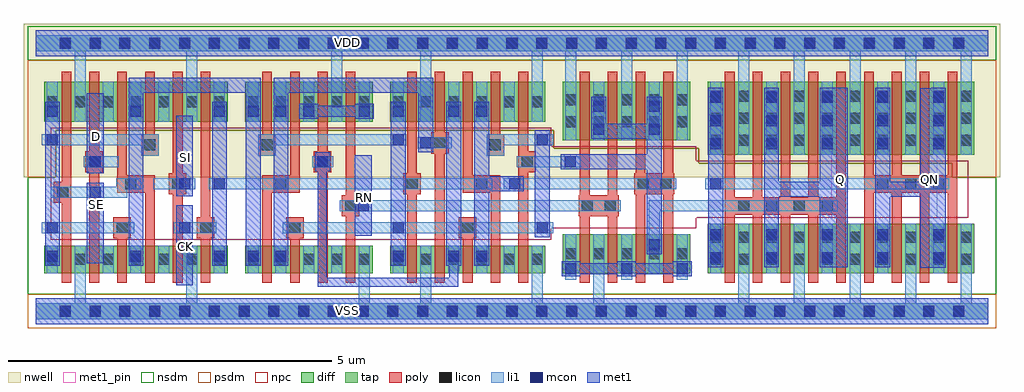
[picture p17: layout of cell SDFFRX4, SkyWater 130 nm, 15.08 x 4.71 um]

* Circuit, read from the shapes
.subckt SDFFRX4 CK D Q QN RN SE SI VDD VSS
XM1 VSS SE n1 VSS sky130_fd_pr__nfet_01v8 w=0.425 l=0.15
XM2 n2 D VSS VSS sky130_fd_pr__nfet_01v8 w=0.425 l=0.15
XM3 n3 n1 n2 VSS sky130_fd_pr__nfet_01v8 w=0.425 l=0.15
XM4 n4 SE n3 VSS sky130_fd_pr__nfet_01v8 w=0.425 l=0.15
XM5 VSS SI n4 VSS sky130_fd_pr__nfet_01v8 w=0.425 l=0.15
XM6 n5 CK VSS VSS sky130_fd_pr__nfet_01v8 w=0.425 l=0.15
XM7 n6 n5 n3 VSS sky130_fd_pr__nfet_01v8 w=0.425 l=0.15
XM8 n7 n8 n6 VSS sky130_fd_pr__nfet_01v8 w=0.425 l=0.15
XM9 n9 n10 n7 VSS sky130_fd_pr__nfet_01v8 w=0.425 l=0.15
XM10 VSS RN n9 VSS sky130_fd_pr__nfet_01v8 w=0.425 l=0.15
XM11 VSS n5 n8 VSS sky130_fd_pr__nfet_01v8 w=0.425 l=0.15
XM12 n10 n6 VSS VSS sky130_fd_pr__nfet_01v8 w=0.425 l=0.15
XM13 n11 n8 n10 VSS sky130_fd_pr__nfet_01v8 w=0.425 l=0.15
XM14 n12 n5 n11 VSS sky130_fd_pr__nfet_01v8 w=0.425 l=0.15
XM15 VSS n13 n12 VSS sky130_fd_pr__nfet_01v8 w=0.425 l=0.15
XM16 VSS RN n14 VSS sky130_fd_pr__nfet_01v8 w=0.6 l=0.15 m=2
XM17 n13 n11 n14 VSS sky130_fd_pr__nfet_01v8 w=0.6 l=0.15 m=2
XM18 VSS n13 n15 VSS sky130_fd_pr__nfet_01v8 w=0.76 l=0.15
XM19 Q n13 VSS VSS sky130_fd_pr__nfet_01v8 w=0.76 l=0.15 m=4
XM20 QN n15 VSS VSS sky130_fd_pr__nfet_01v8 w=0.76 l=0.15 m=4
XM21 VDD SE n1 VDD sky130_fd_pr__pfet_01v8 w=0.625 l=0.15
XM22 n16 D VDD VDD sky130_fd_pr__pfet_01v8 w=0.625 l=0.15
XM23 n3 SE n16 VDD sky130_fd_pr__pfet_01v8 w=0.625 l=0.15
XM24 n17 n1 n3 VDD sky130_fd_pr__pfet_01v8 w=0.625 l=0.15
XM25 VDD SI n17 VDD sky130_fd_pr__pfet_01v8 w=0.625 l=0.15
XM26 n5 CK VDD VDD sky130_fd_pr__pfet_01v8 w=0.625 l=0.15
XM27 n6 n8 n3 VDD sky130_fd_pr__pfet_01v8 w=0.625 l=0.15
XM28 n18 n5 n6 VDD sky130_fd_pr__pfet_01v8 w=0.625 l=0.15
XM29 VDD n10 n18 VDD sky130_fd_pr__pfet_01v8 w=0.625 l=0.15
XM30 n18 RN VDD VDD sky130_fd_pr__pfet_01v8 w=0.625 l=0.15
XM31 VDD n5 n8 VDD sky130_fd_pr__pfet_01v8 w=0.625 l=0.15
XM32 n10 n6 VDD VDD sky130_fd_pr__pfet_01v8 w=0.625 l=0.15
XM33 n11 n5 n10 VDD sky130_fd_pr__pfet_01v8 w=0.625 l=0.15
XM34 n19 n8 n11 VDD sky130_fd_pr__pfet_01v8 w=0.625 l=0.15
XM35 VDD n13 n19 VDD sky130_fd_pr__pfet_01v8 w=0.625 l=0.15
XM36 n13 RN VDD VDD sky130_fd_pr__pfet_01v8 w=0.905 l=0.15 m=2
XM37 n13 n11 VDD VDD sky130_fd_pr__pfet_01v8 w=0.905 l=0.15 m=2
XM38 VDD n13 n15 VDD sky130_fd_pr__pfet_01v8 w=1.13 l=0.15
XM39 Q n13 VDD VDD sky130_fd_pr__pfet_01v8 w=1.13 l=0.15 m=4
XM40 QN n15 VDD VDD sky130_fd_pr__pfet_01v8 w=1.13 l=0.15 m=4
.ends

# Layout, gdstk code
from math import pi, radians
import gdstk
lib = gdstk.Library(unit=1e-6, precision=1e-09)
def R(c, l, rs):  # rectangles x0, y0, x1, y1
    for r in rs: c.add(gdstk.rectangle(r[:2], r[2:], *l))
def A(c, l, x, y, w, h, nx, ny, dx, dy):  # array of equal rectangles
    R(c, l, [(x+i*dx, y+j*dy, x+i*dx+w, y+j*dy+h) for i in range(nx) for j in range(ny)])
def P(c, l, *ps):  # polygons
    for p in ps: c.add(gdstk.Polygon(p, *l))
nwell = (64, 20)
diff = (65, 20)
tap = (65, 44)
poly = (66, 20)
licon = (66, 44)
li1 = (67, 20)
mcon = (67, 44)
met1_pin = (68, 16)
met1 = (68, 20)
nsdm = (93, 44)
psdm = (94, 20)
npc = (95, 20)

pyl1con_c_cdns_758728262 = lib.new_cell('PYL1CON_C_CDNS_758728262102')
R(pyl1con_c_cdns_758728262, poly, [(-0.135,-0.165,0.135,0.165)])
R(pyl1con_c_cdns_758728262, licon, [(-0.085,-0.085,0.085,0.085)])
R(pyl1con_c_cdns_758728262, npc, [(-0.185,-0.185,0.185,0.185)])

l1m1_c_cdns_758728262101 = lib.new_cell('L1M1_C_CDNS_7587282621012')
R(l1m1_c_cdns_758728262101, li1, [(-0.085,-0.525,0.085,0.525)])
A(l1m1_c_cdns_758728262101, mcon, -0.085, -0.445, 0.17, 0.17, 1, 3, 0, 0.36)
R(l1m1_c_cdns_758728262101, met1, [(-0.115,-0.505,0.115,0.505)])

c_l1m1_c_cdns_758728262101 = lib.new_cell('L1M1_C_CDNS_758728262101')
R(c_l1m1_c_cdns_758728262101, li1, [(-0.085,-0.165,0.085,0.165)])
R(c_l1m1_c_cdns_758728262101, mcon, [(-0.085,-0.085,0.085,0.085)])
R(c_l1m1_c_cdns_758728262101, met1, [(-0.115,-0.145,0.115,0.145)])

l1m1_c_cdns_758728262104 = lib.new_cell('L1M1_C_CDNS_758728262104')
R(l1m1_c_cdns_758728262104, li1, [(-0.085,-0.345,0.085,0.345)])
R(l1m1_c_cdns_758728262104, mcon, [(-0.085,-0.265,0.085,-0.095), (-0.085,0.095,0.085,0.265)])
R(l1m1_c_cdns_758728262104, met1, [(-0.115,-0.325,0.115,0.325)])

l1m1_c_cdns_758728262100 = lib.new_cell('L1M1_C_CDNS_758728262100')
R(l1m1_c_cdns_758728262100, li1, [(-0.165,-0.085,0.165,0.085)])
R(l1m1_c_cdns_758728262100, mcon, [(-0.085,-0.085,0.085,0.085)])
R(l1m1_c_cdns_758728262100, met1, [(-0.115,-0.145,0.115,0.145)])

l1m1_c_cdns_758728262103 = lib.new_cell('L1M1_C_CDNS_758728262103')
R(l1m1_c_cdns_758728262103, li1, [(-0.085,-0.165,0.085,0.165)])
R(l1m1_c_cdns_758728262103, mcon, [(-0.085,-0.085,0.085,0.085)])
R(l1m1_c_cdns_758728262103, met1, [(-0.145,-0.115,0.145,0.115)])

licondiff_c_cdns_7587282 = lib.new_cell('LICONDIFF_C_CDNS_7587282621010')
R(licondiff_c_cdns_7587282, diff, [(-0.125,-0.145,0.125,0.145)])
R(licondiff_c_cdns_7587282, licon, [(-0.085,-0.085,0.085,0.085), (-0.085,-0.085,0.085,0.085)])

l1m1_c_cdns_758728262105 = lib.new_cell('L1M1_C_CDNS_758728262105')
R(l1m1_c_cdns_758728262105, li1, [(-0.165,-0.085,0.165,0.085)])
R(l1m1_c_cdns_758728262105, mcon, [(-0.085,-0.085,0.085,0.085)])
R(l1m1_c_cdns_758728262105, met1, [(-0.145,-0.115,0.145,0.115)])

c_pyl1con_c_cdns_758728262 = lib.new_cell('PYL1CON_C_CDNS_7587282621017')
R(c_pyl1con_c_cdns_758728262, poly, [(-0.135,-0.29,0.135,0.29)])
R(c_pyl1con_c_cdns_758728262, licon, [(-0.085,-0.085,0.085,0.085)])
R(c_pyl1con_c_cdns_758728262, npc, [(-0.185,-0.185,0.185,0.185)])

c_l1m1_c_cdns_758728262101_ = lib.new_cell('L1M1_C_CDNS_7587282621019')
R(c_l1m1_c_cdns_758728262101_, li1, [(-0.125,-0.085,0.125,0.085)])
R(c_l1m1_c_cdns_758728262101_, mcon, [(-0.085,-0.085,0.085,0.085)])
R(c_l1m1_c_cdns_758728262101_, met1, [(-0.115,-0.145,0.115,0.145)])

c_pyl1con_c_cdns_758728262_ = lib.new_cell('PYL1CON_C_CDNS_7587282621020')
R(c_pyl1con_c_cdns_758728262_, poly, [(-0.135,-0.37,0.135,0.21)])
R(c_pyl1con_c_cdns_758728262_, licon, [(-0.085,-0.085,0.085,0.085)])
R(c_pyl1con_c_cdns_758728262_, npc, [(-0.185,-0.185,0.185,0.185)])

sdffrx4 = lib.new_cell('SDFFRX4')
R(sdffrx4, nwell, [(-0.18,2.07,14.9,4.445)])
R(sdffrx4, diff, [(0.135,0.59,2.965,1.015), (3.235,0.59,5.205,1.015), (5.475,0.59,7.875,1.015), (8.145,0.59,10.115,1.19), (10.385,0.59,14.505,1.35), (10.385,2.42,14.505,3.55), (8.145,2.645,10.115,3.55), (0.135,2.925,2.965,3.55), (3.235,2.925,5.205,3.55), (5.475,2.925,7.875,3.55)])
A(sdffrx4, poly, 1.26, 0.44, 0.15, 0.725, 3, 1, 2.67, 0)
A(sdffrx4, poly, 10.65, 0.44, 0.15, 3.26, 9, 1, 0.43, 0)
R(sdffrx4, poly, [(0.4,0.44,0.55,3.7), (0.83,0.44,0.98,3.7), (2.12,0.44,2.27,3.7), (2.55,0.44,2.7,3.7), (4.36,0.44,4.51,3.7), (4.79,0.44,4.94,3.7), (5.74,0.44,5.89,3.7), (6.17,0.44,6.32,3.7), (7.46,0.44,7.61,3.7), (1.69,2.735,1.84,3.7), (3.5,2.735,3.65,3.7), (7.03,2.735,7.18,3.7)])
P(sdffrx4, poly, [(1.84,2.045),(1.41,2.045),(1.41,3.7),(1.26,3.7),(1.26,1.895),(1.69,1.895),(1.69,0.44),(1.84,0.44)],
  [(4.08,3.7),(3.93,3.7),(3.93,2.045),(3.5,2.045),(3.5,0.44),(3.65,0.44),(3.65,1.895),(4.08,1.895)],
  [(7.18,2.045),(6.75,2.045),(6.75,3.7),(6.6,3.7),(6.6,1.895),(7.03,1.895),(7.03,0.44),(7.18,0.44)],
  [(9.01,1.795),(8.99,1.795),(8.99,3.7),(8.84,3.7),(8.84,1.795),(8.56,1.795),(8.56,3.7),(8.41,3.7),(8.41,1.795),(8.39,1.795),(8.39,1.465),(8.41,1.465),(8.41,0.44),(8.56,0.44),(8.56,1.465),(8.84,1.465),(8.84,0.44),(8.99,0.44),(8.99,1.465),(9.01,1.465)],
  [(9.87,2.135),(9.85,2.135),(9.85,3.7),(9.7,3.7),(9.7,2.135),(9.42,2.135),(9.42,3.7),(9.27,3.7),(9.27,2.135),(9.25,2.135),(9.25,1.805),(9.27,1.805),(9.27,0.44),(9.42,0.44),(9.42,1.805),(9.7,1.805),(9.7,0.44),(9.85,0.44),(9.85,1.805),(9.87,1.805)])
A(sdffrx4, licon, 0.375, -0.085, 0.17, 0.17, 31, 2, 0.46, 4.14)
A(sdffrx4, licon, 0.605, 0.715, 0.17, 0.17, 3, 2, 0.86, 2.435)
A(sdffrx4, licon, 5.515, 0.715, 0.17, 0.17, 4, 2, 0.43, 2.435)
A(sdffrx4, licon, 10.425, 0.715, 0.17, 0.17, 10, 2, 0.43, 0.34)
A(sdffrx4, licon, 8.185, 0.805, 0.17, 0.17, 5, 2, 0.43, 2.035)
A(sdffrx4, licon, 10.425, 2.56, 0.17, 0.17, 10, 3, 0.43, 0.34)
A(sdffrx4, licon, 3.275, 3.15, 0.17, 0.17, 5, 1, 0.43, 0)
A(sdffrx4, licon, 8.185, 3.18, 0.17, 0.17, 5, 1, 0.43, 0)
R(sdffrx4, licon, [(0.175,0.715,0.345,0.885), (2.755,0.715,2.925,0.885), (3.275,0.715,3.445,0.885), (3.705,0.715,3.875,0.885), (4.995,0.715,5.165,0.885), (7.665,0.715,7.835,0.885), (0.175,3.15,0.345,3.32), (2.755,3.15,2.925,3.32), (7.665,3.15,7.835,3.32)])
A(sdffrx4, li1, 0.175, 0.59, 0.17, 0.425, 3, 1, 1.29, 0)
A(sdffrx4, li1, 8.185, 0.59, 0.17, 0.6, 3, 1, 0.86, 0)
A(sdffrx4, li1, 10.425, 0.59, 0.17, 0.76, 5, 1, 0.86, 0)
A(sdffrx4, li1, 10.425, 2.42, 0.17, 1.13, 5, 1, 0.86, 0)
A(sdffrx4, li1, 0.175, 2.925, 0.17, 0.625, 3, 1, 1.29, 0)
A(sdffrx4, li1, 3.275, 2.925, 0.17, 0.625, 3, 1, 0.43, 0)
R(sdffrx4, li1, [(3.275,0.59,3.445,1.015), (3.705,0.59,3.875,1.015), (5.515,0.59,5.685,1.015), (6.375,0.59,6.545,1.015), (6.805,0.59,6.975,1.015), (8.615,2.645,8.785,3.55), (9.475,2.645,9.645,3.55), (4.995,2.925,5.165,3.55), (5.515,2.925,5.685,3.55), (6.375,2.925,6.545,3.55), (6.805,2.925,6.975,3.55)])
P(sdffrx4, li1, [(1.9,2.735),(0.095,2.735),(0.095,2.565),(1.63,2.565),(1.63,2.405),(1.9,2.405)],
  [(5.725,2.735),(3.44,2.735),(3.44,2.405),(3.71,2.405),(3.71,2.565),(5.725,2.565)],
  [(7.995,2.735),(6.97,2.735),(6.97,2.405),(7.24,2.405),(7.24,2.565),(7.995,2.565)],
  [(12.395,1.715),(9.475,1.715),(9.475,0.59),(9.645,0.59),(9.645,1.545),(12.395,1.545)],
  [(14.72,4.265),(0,4.265),(0,4.015),(0.605,4.015),(0.605,2.925),(0.775,2.925),(0.775,4.015),(2.325,4.015),(2.325,2.925),(2.495,2.925),(2.495,4.015),(4.565,4.015),(4.565,2.925),(4.735,2.925),(4.735,4.015),(5.945,4.015),(5.945,2.925),(6.115,2.925),(6.115,4.015),(7.665,4.015),(7.665,2.925),(7.835,2.925),(7.835,4.015),(8.185,4.015),(8.185,2.645),(8.355,2.645),(8.355,4.015),(9.045,4.015),(9.045,2.645),(9.215,2.645),(9.215,4.015),(9.905,4.015),(9.905,2.645),(10.075,2.645),(10.075,4.015),(10.855,4.015),(10.855,2.42),(11.025,2.42),(11.025,4.015),(11.715,4.015),(11.715,2.42),(11.885,2.42),(11.885,4.015),(12.575,4.015),(12.575,2.42),(12.745,2.42),(12.745,4.015),(13.435,4.015),(13.435,2.42),(13.605,2.42),(13.605,4.015),(14.295,4.015),(14.295,2.42),(14.465,2.42),(14.465,4.015),(14.72,4.015)],
  [(14.72,0.125),(14.465,0.125),(14.465,1.35),(14.295,1.35),(14.295,0.125),(13.605,0.125),(13.605,1.35),(13.435,1.35),(13.435,0.125),(12.745,0.125),(12.745,1.35),(12.575,1.35),(12.575,0.125),(11.885,0.125),(11.885,1.35),(11.715,1.35),(11.715,0.125),(11.025,0.125),(11.025,1.35),(10.855,1.35),(10.855,0.125),(8.785,0.125),(8.785,1.19),(8.615,1.19),(8.615,0.125),(7.835,0.125),(7.835,1.015),(7.665,1.015),(7.665,0.125),(6.115,0.125),(6.115,1.015),(5.945,1.015),(5.945,0.125),(5.165,0.125),(5.165,1.015),(4.995,1.015),(4.995,0.125),(2.495,0.125),(2.495,1.015),(2.325,1.015),(2.325,0.125),(0.775,0.125),(0.775,1.015),(0.605,1.015),(0.605,0.125),(0,0.125),(0,-0.125),(14.72,-0.125)])
A(sdffrx4, mcon, 0.375, -0.085, 0.17, 0.17, 31, 2, 0.46, 4.14)
R(sdffrx4, met1_pin, [(2.17,0.4,2.43,1.64), (0.79,0.745,1.05,1.985), (4.93,1.17,5.19,2.41), (13.67,1.44,13.93,2.68), (12.29,1.445,12.55,2.685), (2.17,1.78,2.43,3.02), (0.79,2.13,1.05,3.37)])
P(sdffrx4, met1, [(6.575,3.235),(6.345,3.235),(6.345,0.705),(6.39,0.705),(6.39,0.52),(4.5,0.52),(4.5,2.31),(4.36,2.31),(4.36,0.38),(6.53,0.38),(6.53,0.705),(6.575,0.705)],
  [(7.545,2.085),(7.005,2.085),(7.005,3.235),(6.775,3.235),(6.775,0.705),(7.005,0.705),(7.005,1.855),(7.545,1.855)],
  [(9.675,3.315),(9.445,3.315),(9.445,2.895),(8.585,2.895),(8.585,2.665),(9.445,2.665),(9.445,2.425),(8.115,2.425),(8.115,2.195),(9.445,2.195),(9.445,0.88),(9.675,0.88)],
  [(12.55,3.45),(12.115,3.45),(12.115,2),(11.485,2),(11.485,3.45),(11.255,3.45),(11.255,0.68),(11.485,0.68),(11.485,1.77),(12.115,1.77),(12.115,0.685),(12.29,0.685),(12.29,0.68),(12.55,0.68)],
  [(14.065,3.445),(13.67,3.445),(13.67,2),(13.205,2),(13.205,3.45),(12.975,3.45),(12.975,0.68),(13.205,0.68),(13.205,1.77),(13.67,1.77),(13.67,0.675),(14.065,0.675)])
R(sdffrx4, nsdm, [(-0.125,3.875,14.845,4.405)])
P(sdffrx4, nsdm, [(14.845,2.07),(14.165,2.07),(14.165,2.29),(10.245,2.29),(10.245,2.515),(8.005,2.515),(8.005,2.795),(0.31,2.795),(0.31,2.07),(-0.125,2.07),(-0.125,0.265),(14.845,0.265)])
R(sdffrx4, psdm, [(-0.125,-0.265,14.845,0.265)])
P(sdffrx4, psdm, [(14.845,3.875),(-0.125,3.875),(-0.125,2.07),(0.31,2.07),(0.31,2.795),(8.005,2.795),(8.005,2.515),(10.245,2.515),(10.245,2.29),(14.165,2.29),(14.165,2.07),(14.845,2.07)])
P(sdffrx4, npc, [(14.41,2.325),(10.205,2.325),(10.205,2.55),(7.965,2.55),(7.965,2.835),(0.23,2.835),(0.23,1.105),(7.965,1.105),(7.965,1.285),(10.205,1.285),(10.205,1.445),(14.41,1.445)])
sdffrx4.add(gdstk.FlexPath([(5.905,2.6),(6.43,2.6)], 0.17, ends="flush", simple_path=True, layer=67, datatype=20))  # li1
sdffrx4.add(gdstk.FlexPath([(0.095,1.29),(1.52,1.29)], 0.17, ends="flush", simple_path=True, layer=67, datatype=20))  # li1
sdffrx4.add(gdstk.FlexPath([(7.32,2.925),(7.32,3.55)], 0.17, ends="flush", simple_path=True, layer=67, datatype=20))  # li1
sdffrx4.add(gdstk.FlexPath([(7.32,0.59),(7.32,1.015)], 0.17, ends="flush", simple_path=True, layer=67, datatype=20))  # li1
sdffrx4.add(gdstk.FlexPath([(4.65,0.59),(4.65,1.015)], 0.17, ends="flush", simple_path=True, layer=67, datatype=20))  # li1
sdffrx4.add(gdstk.FlexPath([(4.22,0.59),(4.22,1.015)], 0.17, ends="flush", simple_path=True, layer=67, datatype=20))  # li1
sdffrx4.add(gdstk.FlexPath([(2.36,1.97),(1.815,1.97)], 0.17, ends="flush", simple_path=True, layer=67, datatype=20))  # li1
sdffrx4.add(gdstk.FlexPath([(2.79,1.29),(2.245,1.29)], 0.17, ends="flush", simple_path=True, layer=67, datatype=20))  # li1
sdffrx4.add(gdstk.FlexPath([(2.675,1.97),(7.055,1.97)], 0.17, ends="flush", simple_path=True, layer=67, datatype=20))  # li1
sdffrx4.add(gdstk.FlexPath([(0.23,1.84),(1.33,1.84),(1.33,1.97),(1.635,1.97)], 0.17, ends="flush", simple_path=True, layer=67, datatype=20))  # li1
sdffrx4.add(gdstk.FlexPath([(1.12,2.925),(1.12,3.55)], 0.17, ends="flush", simple_path=True, layer=67, datatype=20))  # li1
sdffrx4.add(gdstk.FlexPath([(1.98,2.925),(1.98,3.55)], 0.17, ends="flush", simple_path=True, layer=67, datatype=20))  # li1
sdffrx4.add(gdstk.FlexPath([(7.235,1.97),(9.9,1.97)], 0.17, ends="flush", simple_path=True, layer=67, datatype=20))  # li1
sdffrx4.add(gdstk.FlexPath([(4.7,1.63),(9.04,1.63)], 0.17, ends="flush", simple_path=True, layer=67, datatype=20))  # li1
sdffrx4.add(gdstk.FlexPath([(7.43,2.31),(8.425,2.31)], 0.17, ends="flush", simple_path=True, layer=67, datatype=20))  # li1
sdffrx4.add(gdstk.FlexPath([(3.82,1.29),(7.995,1.29)], 0.17, ends="flush", simple_path=True, layer=67, datatype=20))  # li1
sdffrx4.add(gdstk.FlexPath([(10.51,1.97),(14.115,1.97)], 0.17, ends="flush", simple_path=True, layer=67, datatype=20))  # li1
sdffrx4.add(gdstk.FlexPath([(1.12,0.59),(1.12,1.015)], 0.17, ends="flush", simple_path=True, layer=67, datatype=20))  # li1
sdffrx4.add(gdstk.FlexPath([(1.98,0.59),(1.98,1.015)], 0.17, ends="flush", simple_path=True, layer=67, datatype=20))  # li1
sdffrx4.add(gdstk.FlexPath([(1.285,2.31),(0.74,2.31)], 0.17, ends="flush", simple_path=True, layer=67, datatype=20))  # li1
sdffrx4.add(gdstk.FlexPath([(7.83,1.145),(7.83,2.795)], 0.23, ends="flush", simple_path=True, layer=68, datatype=20))  # met1
sdffrx4.add(gdstk.FlexPath([(3.79,0.705),(3.79,3.49),(6.03,3.49),(6.03,2.475)], 0.23, ends="flush", simple_path=True, layer=68, datatype=20))  # met1
sdffrx4.add(gdstk.FlexPath([(1.55,0.705),(1.55,3.49),(3.36,3.49),(3.36,0.705)], 0.23, ends="flush", simple_path=True, layer=68, datatype=20))  # met1
sdffrx4.add(gdstk.FlexPath([(0.26,0.705),(0.26,3.235)], 0.23, ends="flush", simple_path=True, layer=68, datatype=20))  # met1
sdffrx4.add(gdstk.FlexPath([(5.6,0.705),(5.6,3.235)], 0.23, ends="flush", simple_path=True, layer=68, datatype=20))  # met1
sdffrx4.add(gdstk.FlexPath([(2.84,0.705),(2.84,3.235)], 0.23, ends="flush", simple_path=True, layer=68, datatype=20))  # met1
sdffrx4.add(gdstk.FlexPath([(5.06,1.17),(5.06,2.41)], 0.26, ends="flush", simple_path=True, layer=68, datatype=20))  # met1
sdffrx4.add(gdstk.FlexPath([(0,0),(14.72,0)], 0.4, ends="flush", simple_path=True, layer=68, datatype=20))  # met1
sdffrx4.add(gdstk.FlexPath([(2.3,0.4),(2.3,1.64)], 0.26, ends="flush", simple_path=True, layer=68, datatype=20))  # met1
sdffrx4.add(gdstk.FlexPath([(2.3,1.78),(2.3,3.02)], 0.26, ends="flush", simple_path=True, layer=68, datatype=20))  # met1
sdffrx4.add(gdstk.FlexPath([(0.92,2.13),(0.92,3.37)], 0.26, ends="flush", simple_path=True, layer=68, datatype=20))  # met1
sdffrx4.add(gdstk.FlexPath([(10.51,0.68),(10.51,3.45)], 0.23, ends="flush", simple_path=True, layer=68, datatype=20))  # met1
sdffrx4.add(gdstk.FlexPath([(8.125,0.655),(10.135,0.655)], 0.17, ends="flush", simple_path=True, layer=68, datatype=20))  # met1
sdffrx4.add(gdstk.FlexPath([(4.075,3.09),(5.225,3.09)], 0.17, ends="flush", simple_path=True, layer=68, datatype=20))  # met1
sdffrx4.add(gdstk.FlexPath([(0.92,0.745),(0.92,1.985)], 0.26, ends="flush", simple_path=True, layer=68, datatype=20))  # met1
sdffrx4.add(gdstk.FlexPath([(0,4.14),(14.72,4.14)], 0.4, ends="flush", simple_path=True, layer=68, datatype=20))  # met1
sdffrx4.add(gdstk.FlexPath([(0,4.14),(14.72,4.14)], 0.4, ends="flush", simple_path=True, layer=68, datatype=16))  # met1_pin
sdffrx4.add(gdstk.FlexPath([(0,0),(14.72,0)], 0.4, ends="flush", simple_path=True, layer=68, datatype=16))  # met1_pin
sdffrx4.add(gdstk.FlexPath([(0,4.14),(14.72,4.14)], 0.25, ends="flush", simple_path=True, layer=65, datatype=44))  # tap
sdffrx4.add(gdstk.FlexPath([(0,0),(14.72,0)], 0.25, ends="flush", simple_path=True, layer=65, datatype=44))  # tap
sdffrx4.add(gdstk.Reference(pyl1con_c_cdns_758728262, (6.245,2.6), rotation=pi))
sdffrx4.add(gdstk.Reference(pyl1con_c_cdns_758728262, (4.435,2.31)))
sdffrx4.add(gdstk.Reference(pyl1con_c_cdns_758728262, (4.865,1.63), rotation=pi, x_reflection=True))
sdffrx4.add(gdstk.Reference(pyl1con_c_cdns_758728262, (5.815,1.97), x_reflection=True))
sdffrx4.add(gdstk.Reference(pyl1con_c_cdns_758728262, (2.625,1.29), x_reflection=True))
sdffrx4.add(gdstk.Reference(pyl1con_c_cdns_758728262, (2.195,1.97), x_reflection=True))
sdffrx4.add(gdstk.Reference(pyl1con_c_cdns_758728262, (1.765,2.57), rotation=pi))
sdffrx4.add(gdstk.Reference(pyl1con_c_cdns_758728262, (1.335,1.29), x_reflection=True))
sdffrx4.add(gdstk.Reference(pyl1con_c_cdns_758728262, (4.005,1.29), rotation=pi))
sdffrx4.add(gdstk.Reference(pyl1con_c_cdns_758728262, (3.575,2.57), x_reflection=True))
sdffrx4.add(gdstk.Reference(pyl1con_c_cdns_758728262, (7.105,2.57), rotation=pi))
sdffrx4.add(gdstk.Reference(pyl1con_c_cdns_758728262, (6.675,1.29), x_reflection=True))
sdffrx4.add(gdstk.Reference(pyl1con_c_cdns_758728262, (7.595,2.31), rotation=pi, x_reflection=True))
sdffrx4.add(gdstk.Reference(pyl1con_c_cdns_758728262, (8.875,1.63), rotation=pi, x_reflection=True))
sdffrx4.add(gdstk.Reference(pyl1con_c_cdns_758728262, (8.525,1.63), rotation=pi, x_reflection=True))
sdffrx4.add(gdstk.Reference(pyl1con_c_cdns_758728262, (13.09,1.97), rotation=3*pi/2, x_reflection=True))
sdffrx4.add(gdstk.Reference(pyl1con_c_cdns_758728262, (13.52,1.97), rotation=3*pi/2, x_reflection=True))
sdffrx4.add(gdstk.Reference(pyl1con_c_cdns_758728262, (12.23,1.63), rotation=3*pi/2, x_reflection=True))
sdffrx4.add(gdstk.Reference(pyl1con_c_cdns_758728262, (11.8,1.63), rotation=3*pi/2, x_reflection=True))
sdffrx4.add(gdstk.Reference(pyl1con_c_cdns_758728262, (11.37,1.63), rotation=3*pi/2, x_reflection=True))
sdffrx4.add(gdstk.Reference(pyl1con_c_cdns_758728262, (13.95,1.97), rotation=3*pi/2, x_reflection=True))
sdffrx4.add(gdstk.Reference(pyl1con_c_cdns_758728262, (0.415,1.84)))
sdffrx4.add(gdstk.Reference(pyl1con_c_cdns_758728262, (9.735,1.97), rotation=pi, x_reflection=True))
sdffrx4.add(gdstk.Reference(pyl1con_c_cdns_758728262, (9.385,1.97), rotation=pi, x_reflection=True))
sdffrx4.add(gdstk.Reference(pyl1con_c_cdns_758728262, (0.905,2.31)))
sdffrx4.add(gdstk.Reference(pyl1con_c_cdns_758728262, (10.94,1.63), rotation=3*pi/2, x_reflection=True))
sdffrx4.add(gdstk.Reference(l1m1_c_cdns_758728262101, (13.09,2.945)))
sdffrx4.add(gdstk.Reference(l1m1_c_cdns_758728262101, (13.95,2.945)))
sdffrx4.add(gdstk.Reference(l1m1_c_cdns_758728262101, (10.51,2.945)))
sdffrx4.add(gdstk.Reference(l1m1_c_cdns_758728262101, (12.23,2.945)))
sdffrx4.add(gdstk.Reference(l1m1_c_cdns_758728262101, (11.37,2.945)))
sdffrx4.add(gdstk.Reference(c_l1m1_c_cdns_758728262101, (3.36,3.09)))
sdffrx4.add(gdstk.Reference(c_l1m1_c_cdns_758728262101, (3.36,0.85)))
sdffrx4.add(gdstk.Reference(c_l1m1_c_cdns_758728262101, (1.55,3.09)))
sdffrx4.add(gdstk.Reference(c_l1m1_c_cdns_758728262101, (1.55,0.85)))
sdffrx4.add(gdstk.Reference(c_l1m1_c_cdns_758728262101, (0.26,3.09)))
sdffrx4.add(gdstk.Reference(c_l1m1_c_cdns_758728262101, (0.26,0.85)))
sdffrx4.add(gdstk.Reference(c_l1m1_c_cdns_758728262101, (5.6,0.85)))
sdffrx4.add(gdstk.Reference(c_l1m1_c_cdns_758728262101, (5.6,3.09)))
sdffrx4.add(gdstk.Reference(c_l1m1_c_cdns_758728262101, (2.84,0.85)))
sdffrx4.add(gdstk.Reference(c_l1m1_c_cdns_758728262101, (2.84,3.09)))
sdffrx4.add(gdstk.Reference(c_l1m1_c_cdns_758728262101, (3.79,3.09)))
sdffrx4.add(gdstk.Reference(c_l1m1_c_cdns_758728262101, (3.79,0.85)))
sdffrx4.add(gdstk.Reference(c_l1m1_c_cdns_758728262101, (6.46,0.85)))
sdffrx4.add(gdstk.Reference(c_l1m1_c_cdns_758728262101, (6.46,3.09)))
sdffrx4.add(gdstk.Reference(c_l1m1_c_cdns_758728262101, (6.89,3.09)))
sdffrx4.add(gdstk.Reference(c_l1m1_c_cdns_758728262101, (6.89,0.85)))
sdffrx4.add(gdstk.Reference(c_l1m1_c_cdns_758728262101, (9.56,1.025), rotation=pi, x_reflection=True))
sdffrx4.add(gdstk.Reference(l1m1_c_cdns_758728262104, (8.7,2.99), rotation=pi, x_reflection=True))
sdffrx4.add(gdstk.Reference(l1m1_c_cdns_758728262104, (9.56,2.99), rotation=pi, x_reflection=True))
sdffrx4.add(gdstk.Reference(l1m1_c_cdns_758728262104, (13.09,1.005)))
sdffrx4.add(gdstk.Reference(l1m1_c_cdns_758728262104, (13.95,1.005)))
sdffrx4.add(gdstk.Reference(l1m1_c_cdns_758728262104, (12.23,1.005)))
sdffrx4.add(gdstk.Reference(l1m1_c_cdns_758728262104, (11.37,1.005)))
sdffrx4.add(gdstk.Reference(l1m1_c_cdns_758728262104, (10.51,1.005)))
sdffrx4.add(gdstk.Reference(l1m1_c_cdns_758728262100, (7.83,2.65)))
sdffrx4.add(gdstk.Reference(l1m1_c_cdns_758728262100, (7.83,1.29)))
sdffrx4.add(gdstk.Reference(l1m1_c_cdns_758728262100, (2.3,1.29), x_reflection=True))
sdffrx4.add(gdstk.Reference(l1m1_c_cdns_758728262100, (2.3,1.97), x_reflection=True))
sdffrx4.add(gdstk.Reference(l1m1_c_cdns_758728262100, (2.84,1.97)))
sdffrx4.add(gdstk.Reference(l1m1_c_cdns_758728262100, (5.6,1.29)))
sdffrx4.add(gdstk.Reference(l1m1_c_cdns_758728262100, (5.06,1.63), x_reflection=True))
sdffrx4.add(gdstk.Reference(l1m1_c_cdns_758728262100, (0.92,1.84), x_reflection=True))
sdffrx4.add(gdstk.Reference(l1m1_c_cdns_758728262100, (0.92,2.31), x_reflection=True))
sdffrx4.add(gdstk.Reference(l1m1_c_cdns_758728262100, (10.51,1.97)))
sdffrx4.add(gdstk.Reference(l1m1_c_cdns_758728262100, (0.26,1.29)))
sdffrx4.add(gdstk.Reference(l1m1_c_cdns_758728262100, (0.26,2.65)))
sdffrx4.add(gdstk.Reference(l1m1_c_cdns_758728262100, (4.435,2.31)))
sdffrx4.add(gdstk.Reference(l1m1_c_cdns_758728262103, (9.13,0.655)))
sdffrx4.add(gdstk.Reference(l1m1_c_cdns_758728262103, (4.22,3.09)))
sdffrx4.add(gdstk.Reference(l1m1_c_cdns_758728262103, (9.99,0.655)))
sdffrx4.add(gdstk.Reference(l1m1_c_cdns_758728262103, (8.27,0.655)))
sdffrx4.add(gdstk.Reference(l1m1_c_cdns_758728262103, (5.08,3.09)))
sdffrx4.add(gdstk.Reference(licondiff_c_cdns_7587282, (7.32,3.235)))
sdffrx4.add(gdstk.Reference(licondiff_c_cdns_7587282, (7.32,0.8)))
sdffrx4.add(gdstk.Reference(licondiff_c_cdns_7587282, (4.65,0.8)))
sdffrx4.add(gdstk.Reference(licondiff_c_cdns_7587282, (4.22,0.8)))
sdffrx4.add(gdstk.Reference(licondiff_c_cdns_7587282, (1.98,0.8)))
sdffrx4.add(gdstk.Reference(licondiff_c_cdns_7587282, (1.12,0.8)))
sdffrx4.add(gdstk.Reference(licondiff_c_cdns_7587282, (1.98,3.235)))
sdffrx4.add(gdstk.Reference(licondiff_c_cdns_7587282, (1.12,3.235)))
sdffrx4.add(gdstk.Reference(l1m1_c_cdns_758728262105, (8.26,2.31), rotation=pi, x_reflection=True))
sdffrx4.add(gdstk.Reference(l1m1_c_cdns_758728262105, (7.4,1.97)))
sdffrx4.add(gdstk.Reference(c_pyl1con_c_cdns_758728262, (3.79,1.97), rotation=pi/2, x_reflection=True))
sdffrx4.add(gdstk.Reference(c_pyl1con_c_cdns_758728262, (6.89,1.97), rotation=pi/2))
sdffrx4.add(gdstk.Reference(c_l1m1_c_cdns_758728262101_, (6.03,2.6)))
sdffrx4.add(gdstk.Reference(c_l1m1_c_cdns_758728262101_, (5.6,2.65)))
sdffrx4.add(gdstk.Reference(c_pyl1con_c_cdns_758728262_, (1.47,1.97), rotation=pi/2))
sdffrx4.add(gdstk.Label('Q', (12.435,2.04), layer=68, texttype=5))
sdffrx4.add(gdstk.Label('RN', (5.075,1.765), layer=68, texttype=5))
sdffrx4.add(gdstk.Label('CK', (2.315,0.995), layer=68, texttype=5))
sdffrx4.add(gdstk.Label('SI', (2.315,2.375), layer=68, texttype=5))
sdffrx4.add(gdstk.Label('D', (0.935,2.7), layer=68, texttype=5))
sdffrx4.add(gdstk.Label('SE', (0.935,1.65), layer=68, texttype=5))
sdffrx4.add(gdstk.Label('QN', (13.815,2.035), layer=68, texttype=5))
sdffrx4.add(gdstk.Label('VDD', (4.825,4.145), layer=68, texttype=5))
sdffrx4.add(gdstk.Label('VSS', (4.825,0.005), layer=68, texttype=5))

lib.write_gds('SDFFRX4.gds')
